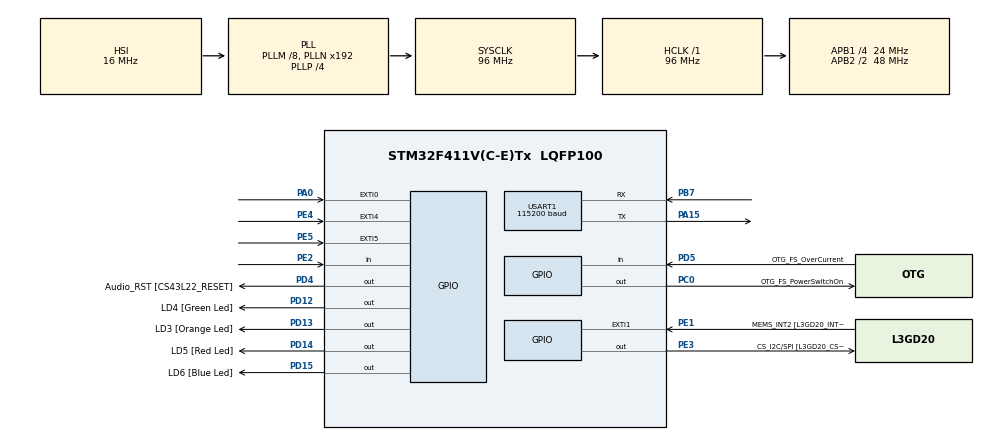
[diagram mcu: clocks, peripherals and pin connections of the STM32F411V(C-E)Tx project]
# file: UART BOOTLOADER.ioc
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Mcu.Family=STM32F4
Mcu.Name=STM32F411V(C-E)Tx
Mcu.Package=LQFP100
NVIC.PriorityGroup=NVIC_PRIORITYGROUP_0
PA0-WKUP.GPIO_ModeDefaultEXTI=GPIO_MODE_EVT_RISING
PA0-WKUP.Signal=GPXTI0
PA10.GPIO_Label=OTG_FS_ID
PA10.Signal=USB_OTG_FS_ID
PA11.GPIO_Label=OTG_FS_DM
PA11.Signal=USB_OTG_FS_DM
PA12.GPIO_Label=OTG_FS_DP
PA12.Signal=USB_OTG_FS_DP
PA13.GPIO_Label=SWDIO
PA13.Mode=Serial_Wire
PA13.Signal=SYS_JTMS-SWDIO
PA14.GPIO_Label=SWCLK
PA14.Mode=Serial_Wire
PA14.Signal=SYS_JTCK-SWCLK
PA15.Mode=Asynchronous
PA15.Signal=USART1_TX
PA4.GPIO_Label=I2S3_WS [CS43L22_LRCK]
PA4.GPIO_Mode=GPIO_MODE_AF_PP
PA4.GPIO_PuPd=GPIO_NOPULL
PA4.GPIO_Speed=GPIO_SPEED_FREQ_LOW
PA4.Signal=I2S3_WS
PA5.GPIO_Label=SPI1_SCK [L3GD20_SC/SPC]
PA5.Signal=SPI1_SCK
PA6.GPIO_Label=SPI1_MISO [L3GD20_AS0/SDO]
PA6.Signal=SPI1_MISO
PA7.GPIO_Label=SPI1_MOSI [L3GD20_SDA/SDI/SDO]
PA7.Signal=SPI1_MOSI
PA9.GPIO_Label=VBUS_FS
PA9.Signal=USB_OTG_FS_VBUS
PB10.GPIO_Label=CLK_IN [MP45DT02_CLK]
PB10.Signal=I2S2_CK
PB12.Signal=I2S2_WS
PB3.GPIO_Label=SWO
PB3.Signal=SYS_JTDO-SWO
PB6.GPIO_Label=Audio_SCL [CS43L22_SCL]
PB6.GPIO_Mode=GPIO_MODE_AF_OD
PB6.GPIO_PuPd=GPIO_NOPULL
PB6.GPIO_Speed=GPIO_SPEED_FREQ_LOW
PB6.Signal=I2C1_SCL
PB7.Mode=Asynchronous
PB7.Signal=USART1_RX
PB9.GPIO_Label=Audio_SDA [CS43L22_SDA]
PB9.GPIO_Mode=GPIO_MODE_AF_OD
PB9.GPIO_PuPd=GPIO_NOPULL
PB9.GPIO_Speed=GPIO_SPEED_FREQ_LOW
PB9.Signal=I2C1_SDA
PC0.GPIO_Label=OTG_FS_PowerSwitchOn
PC0.PinState=GPIO_PIN_SET
PC0.Signal=GPIO_Output
PC10.GPIO_Label=I2S3_SCK [CS43L22_SCLK]
PC10.GPIO_Mode=GPIO_MODE_AF_PP
PC10.GPIO_PuPd=GPIO_NOPULL
PC10.GPIO_Speed=GPIO_SPEED_FREQ_LOW
PC10.Signal=I2S3_CK
PC12.GPIO_Label=I2S3_SD [CS43L22_SDIN]
PC12.GPIO_Mode=GPIO_MODE_AF_PP
PC12.GPIO_PuPd=GPIO_NOPULL
PC12.GPIO_Speed=GPIO_SPEED_FREQ_LOW
PC12.Signal=I2S3_SD
PC14-OSC32_IN.GPIO_Label=PC14-OSC32_IN
PC14-OSC32_IN.Signal=RCC_OSC32_IN
PC15-OSC32_OUT.GPIO_Label=PC15-OSC32_OUT
PC15-OSC32_OUT.Signal=RCC_OSC32_OUT
PC3.GPIO_Label=PDM_OUT [MP45DT02_DOUT]
PC3.Signal=I2S2_SD
PC7.GPIO_Label=I2S3_MCK [CS43L22_MCLK]
PC7.GPIO_Mode=GPIO_MODE_AF_PP
PC7.GPIO_PuPd=GPIO_NOPULL
PC7.GPIO_Speed=GPIO_SPEED_FREQ_LOW
PC7.Signal=I2S3_MCK
PD12.GPIO_Label=LD4 [Green Led]
PD12.GPIO_PuPd=GPIO_NOPULL
PD12.GPIO_Speed=GPIO_SPEED_FREQ_LOW
PD12.Signal=GPIO_Output
PD13.GPIO_Label=LD3 [Orange Led]
PD13.GPIO_PuPd=GPIO_NOPULL
PD13.GPIO_Speed=GPIO_SPEED_FREQ_LOW
PD13.Signal=GPIO_Output
PD14.GPIO_Label=LD5 [Red Led]
PD14.GPIO_PuPd=GPIO_NOPULL
PD14.GPIO_Speed=GPIO_SPEED_FREQ_LOW
PD14.Signal=GPIO_Output
PD15.GPIO_Label=LD6 [Blue Led]
PD15.GPIO_PuPd=GPIO_NOPULL
PD15.GPIO_Speed=GPIO_SPEED_FREQ_LOW
PD15.Signal=GPIO_Output
PD4.GPIO_Label=Audio_RST [CS43L22_RESET]
PD4.Signal=GPIO_Output
PD5.GPIO_Label=OTG_FS_OverCurrent
PD5.Signal=GPIO_Input
PE1.GPIO_Label=MEMS_INT2 [L3GD20_INT2]
PE1.GPIO_ModeDefaultEXTI=GPIO_MODE_EVT_RISING
PE1.Signal=GPXTI1
PE2.Signal=GPIO_Input
PE3.GPIO_Label=CS_I2C/SPI [L3GD20_CS_I2C/SPI]
PE3.Signal=GPIO_Output
PE4.GPIO_ModeDefaultEXTI=GPIO_MODE_EVT_RISING
PE4.Signal=GPXTI4
PE5.GPIO_ModeDefaultEXTI=GPIO_MODE_EVT_RISING
PE5.Signal=GPXTI5
PH0\ -\ OSC_IN.GPIO_Label=PH0-OSC_IN
PH0\ -\ OSC_IN.Mode=HSE-External-Oscillator
PH0\ -\ OSC_IN.Signal=RCC_OSC_IN
PH1\ -\ OSC_OUT.GPIO_Label=PH1-OSC_OUT
PH1\ -\ OSC_OUT.Mode=HSE-External-Oscillator
PH1\ -\ OSC_OUT.Signal=RCC_OSC_OUT
ProjectManager.HeapSize=0x200
ProjectManager.StackSize=0x400
ProjectManager.TargetToolchain=STM32CubeIDE
RCC.48MHZClocksFreq_Value=48000000
RCC.AHBFreq_Value=96000000
RCC.APB1CLKDivider=RCC_HCLK_DIV4
RCC.APB1Freq_Value=24000000
RCC.APB1TimFreq_Value=48000000
RCC.APB2CLKDivider=RCC_HCLK_DIV2
RCC.APB2Freq_Value=48000000
RCC.APB2TimFreq_Value=96000000
RCC.CortexFreq_Value=96000000
RCC.HCLKFreq_Value=96000000
RCC.HSE_VALUE=8000000
RCC.HSI_VALUE=16000000
RCC.LSE_VALUE=32768
RCC.PLLI2SM=5
RCC.PLLI2SN=200
RCC.PLLM=8
RCC.PLLP=RCC_PLLP_DIV4
RCC.PLLQ=8
RCC.SYSCLKFreq_VALUE=96000000
RCC.SYSCLKSource=RCC_SYSCLKSOURCE_PLLCLK
RCC.VCOOutputFreq_Value=384000000
USART1.BaudRate=115200
USART1.VirtualMode=VM_ASYNC
board=STM32F411E-DISCO

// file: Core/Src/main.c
/* USER CODE BEGIN Header */
/**
  ******************************************************************************
  * @file           : main.c
  * @brief          : Main program body
  ******************************************************************************
  * @attention
  *
  * Copyright (c) 2023 STMicroelectronics.
  * All rights reserved.
  *
  * This software is licensed under terms that can be found in the LICENSE file
  * in the root directory of this software component.
  * If no LICENSE file comes with this software, it is provided AS-IS.
  *
  ******************************************************************************
  */
/* USER CODE END Header */
#include "main.h"

/* USER CODE BEGIN Includes */

#include <stdio.h>
#include <stdlib.h>
#include <stdint.h>
#include <string.h>

#include "stm32f4xx_hal.h"
#include "stm32f4xx_hal_flash.h"

/* USER CODE END Includes */

/* USER CODE BEGIN PM */

#define green_led								GPIO_PIN_12
#define orange_led								GPIO_PIN_13
#define red_led									GPIO_PIN_14
#define blue_led								GPIO_PIN_15

#define MAIN_APP_BASE_ADDR_FLASH				0x08004000

#define BOOTLOADER_WAITING_TICKS				1000
#define BOOTLOADER_RECEPTION_BYTES_PER_PACKET	1024
#define BOOTLOADER_RECEPTION_START_KEY			0x12345678

/*
 *
 * UART1 CONNECTIONS:
 * TX -> PA15
 * RX -> PB7
 *
 */

/* USER CODE END PM */

UART_HandleTypeDef  huart1;

/* USER CODE BEGIN PV */

#define HUART		&huart1			//Edit Your UART Here

/* USER CODE END PV */

void SystemClock_Config(void);
static void MX_GPIO_Init(void);
static void MX_USART1_UART_Init(void);

/* USER CODE BEGIN 0 */

typedef struct
{
	uint32_t start_key;
	uint32_t nBytes;
}BOOTLOADER_START_PACKET;

BOOTLOADER_START_PACKET bsp = {0, 0};

typedef void (*ptrFapp)();

void Bootloader_JumpToMainApp(uint32_t _app_addr)
{
	uint32_t jump_addr;

	ptrFapp jump_app;

	jump_addr = *(uint32_t*)(_app_addr + 4);
	jump_app  = (ptrFapp)jump_addr;

	__set_MSP(*(uint32_t*)_app_addr);

	jump_app();
}

void Bootloader_UpdateFirmware(void)
{
	uint8_t resp = 0x01;
	uint32_t counter = 0;
	uint8_t* bsp_ptr = (uint8_t*)&bsp;
	uint8_t current_packet_buffer[BOOTLOADER_RECEPTION_BYTES_PER_PACKET];

	while(1)
	{
		counter++;

		if(counter == BOOTLOADER_WAITING_TICKS)	return;

		else if(counter < BOOTLOADER_WAITING_TICKS && (USART1 -> SR & (1 << USART_SR_RXNE_Pos)))
		{
			*bsp_ptr = USART1 -> DR;																	//Read The First Byte

			break;
		}
		HAL_Delay(1);
	}
	for(uint8_t i=1; i<sizeof(bsp); i++) HAL_UART_Receive(HUART, (bsp_ptr + i), 1, HAL_MAX_DELAY);		//Read Start Packet

	counter = 0;

	if(bsp.start_key == BOOTLOADER_RECEPTION_START_KEY)
	{
		FLASH_EraseInitTypeDef EraseInitStruct;
		uint32_t SectorError;
		uint32_t current_addr_offset = 0;

		HAL_FLASH_Unlock();

		EraseInitStruct.TypeErase     = FLASH_TYPEERASE_SECTORS;
		EraseInitStruct.Sector        = FLASH_SECTOR_1;
		EraseInitStruct.NbSectors     = 7;
		EraseInitStruct.VoltageRange  = FLASH_VOLTAGE_RANGE_3;

		HAL_StatusTypeDef status = HAL_FLASHEx_Erase( &EraseInitStruct, &SectorError );

		HAL_FLASH_Lock();

		if(status != HAL_OK) return;

		float total_packets = (float)bsp.nBytes / (float)BOOTLOADER_RECEPTION_BYTES_PER_PACKET;
		if((total_packets - (int)total_packets) > 0) total_packets++;

		int packets_received = 0;

		uint32_t nBytes = 0;
		uint8_t* nBytes_ptr = (uint8_t*)&nBytes;

		while(packets_received != (int)total_packets)
		{
			HAL_UART_Transmit(HUART, (uint8_t*)&resp, 1, 2000);

			for(int i=0; i<4; i++) HAL_UART_Receive(HUART, (nBytes_ptr + i), 1, 2000);	//Receive Packet Number of Bytes

			for(int i=0; i<nBytes; i++)														//Receive Packet Data
			{
				HAL_UART_Receive(HUART, &current_packet_buffer[i], 1, 2000);

				counter++;

				if((counter % 5) == 0)
				{
					HAL_GPIO_WritePin(GPIOD, orange_led, GPIO_PIN_SET);
					HAL_Delay(5);
					HAL_GPIO_WritePin(GPIOD, orange_led, GPIO_PIN_RESET);
				}
			}
			packets_received++;

			uint32_t address_base = (MAIN_APP_BASE_ADDR_FLASH + current_addr_offset);

			HAL_FLASH_Unlock();

			for(int i=0; i<nBytes; i++)						//Write Packet Data To FLASH
			{
				HAL_FLASH_Program(FLASH_TYPEPROGRAM_BYTE, (address_base + i), current_packet_buffer[i]);
			}
			HAL_FLASH_Lock();

			current_addr_offset += nBytes;
			nBytes = 0;
		}
	}
}

/* USER CODE END 0 */

int main(void)
{

  /* MCU Configuration--------------------------------------------------------*/

  /* Reset of all peripherals, Initializes the Flash interface and the Systick. */
  HAL_Init();

  /* Configure the system clock */
  SystemClock_Config();

  /* Initialize all configured peripherals */
  MX_GPIO_Init();
  MX_USART1_UART_Init();
  /* USER CODE BEGIN 2 */

	Bootloader_UpdateFirmware();

	Bootloader_JumpToMainApp(MAIN_APP_BASE_ADDR_FLASH);

  /* USER CODE END 2 */

  /* Infinite loop */
	while (1)
	{

    /* USER CODE BEGIN 3 */
	}
	return 0;
  /* USER CODE END 3 */
}

void SystemClock_Config(void)
{
  RCC_OscInitTypeDef RCC_OscInitStruct = {0};
  RCC_ClkInitTypeDef RCC_ClkInitStruct = {0};

  /** Configure the main internal regulator output voltage
  */
  __HAL_RCC_PWR_CLK_ENABLE();
  __HAL_PWR_VOLTAGESCALING_CONFIG(PWR_REGULATOR_VOLTAGE_SCALE1);

  /** Initializes the RCC Oscillators according to the specified parameters
  * in the RCC_OscInitTypeDef structure.
  */
  RCC_OscInitStruct.OscillatorType = RCC_OSCILLATORTYPE_HSI;
  RCC_OscInitStruct.HSIState = RCC_HSI_ON;
  RCC_OscInitStruct.HSICalibrationValue = RCC_HSICALIBRATION_DEFAULT;
  RCC_OscInitStruct.PLL.PLLState = RCC_PLL_ON;
  RCC_OscInitStruct.PLL.PLLSource = RCC_PLLSOURCE_HSI;
  RCC_OscInitStruct.PLL.PLLM = 8;
  RCC_OscInitStruct.PLL.PLLN = 192;
  RCC_OscInitStruct.PLL.PLLP = RCC_PLLP_DIV4;
  RCC_OscInitStruct.PLL.PLLQ = 8;
  if (HAL_RCC_OscConfig(&RCC_OscInitStruct) != HAL_OK)
  {
    Error_Handler();
  }

  /** Initializes the CPU, AHB and APB buses clocks
  */
  RCC_ClkInitStruct.ClockType = RCC_CLOCKTYPE_HCLK|RCC_CLOCKTYPE_SYSCLK
                              |RCC_CLOCKTYPE_PCLK1|RCC_CLOCKTYPE_PCLK2;
  RCC_ClkInitStruct.SYSCLKSource = RCC_SYSCLKSOURCE_PLLCLK;
  RCC_ClkInitStruct.AHBCLKDivider = RCC_SYSCLK_DIV1;
  RCC_ClkInitStruct.APB1CLKDivider = RCC_HCLK_DIV4;
  RCC_ClkInitStruct.APB2CLKDivider = RCC_HCLK_DIV2;

  if (HAL_RCC_ClockConfig(&RCC_ClkInitStruct, FLASH_LATENCY_3) != HAL_OK)
  {
    Error_Handler();
  }
}

static void MX_USART1_UART_Init(void)
{

  huart1.Instance = USART1;
  huart1.Init.BaudRate = 115200;
  huart1.Init.WordLength = UART_WORDLENGTH_8B;
  huart1.Init.StopBits = UART_STOPBITS_1;
  huart1.Init.Parity = UART_PARITY_NONE;
  huart1.Init.Mode = UART_MODE_TX_RX;
  huart1.Init.HwFlowCtl = UART_HWCONTROL_NONE;
  huart1.Init.OverSampling = UART_OVERSAMPLING_16;
  if (HAL_UART_Init(HUART) != HAL_OK)
  {
    Error_Handler();
  }

}

static void MX_GPIO_Init(void)
{
  GPIO_InitTypeDef GPIO_InitStruct = {0};

  /* GPIO Ports Clock Enable */
  __HAL_RCC_GPIOE_CLK_ENABLE();
  __HAL_RCC_GPIOC_CLK_ENABLE();
  __HAL_RCC_GPIOH_CLK_ENABLE();
  __HAL_RCC_GPIOA_CLK_ENABLE();
  __HAL_RCC_GPIOB_CLK_ENABLE();
  __HAL_RCC_GPIOD_CLK_ENABLE();

  /*Configure GPIO pin Output Level */
  HAL_GPIO_WritePin(CS_I2C_SPI_GPIO_Port, CS_I2C_SPI_Pin, GPIO_PIN_RESET);

  /*Configure GPIO pin Output Level */
  HAL_GPIO_WritePin(OTG_FS_PowerSwitchOn_GPIO_Port, OTG_FS_PowerSwitchOn_Pin, GPIO_PIN_SET);

  /*Configure GPIO pin Output Level */
  HAL_GPIO_WritePin(GPIOD, LD4_Pin|LD3_Pin|LD5_Pin|LD6_Pin
                          |Audio_RST_Pin, GPIO_PIN_RESET);

  /*Configure GPIO pin : PE2 */
  GPIO_InitStruct.Pin = GPIO_PIN_2;
  GPIO_InitStruct.Mode = GPIO_MODE_INPUT;
  GPIO_InitStruct.Pull = GPIO_NOPULL;
  HAL_GPIO_Init(GPIOE, &GPIO_InitStruct);

  /*Configure GPIO pin : CS_I2C_SPI_Pin */
  GPIO_InitStruct.Pin = CS_I2C_SPI_Pin;
  GPIO_InitStruct.Mode = GPIO_MODE_OUTPUT_PP;
  GPIO_InitStruct.Pull = GPIO_NOPULL;
  GPIO_InitStruct.Speed = GPIO_SPEED_FREQ_LOW;
  HAL_GPIO_Init(CS_I2C_SPI_GPIO_Port, &GPIO_InitStruct);

  /*Configure GPIO pins : PE4 PE5 MEMS_INT2_Pin */
  GPIO_InitStruct.Pin = GPIO_PIN_4|GPIO_PIN_5|MEMS_INT2_Pin;
  GPIO_InitStruct.Mode = GPIO_MODE_EVT_RISING;
  GPIO_InitStruct.Pull = GPIO_NOPULL;
  HAL_GPIO_Init(GPIOE, &GPIO_InitStruct);

  /*Configure GPIO pin : OTG_FS_PowerSwitchOn_Pin */
  GPIO_InitStruct.Pin = OTG_FS_PowerSwitchOn_Pin;
  GPIO_InitStruct.Mode = GPIO_MODE_OUTPUT_PP;
  GPIO_InitStruct.Pull = GPIO_NOPULL;
  GPIO_InitStruct.Speed = GPIO_SPEED_FREQ_LOW;
  HAL_GPIO_Init(OTG_FS_PowerSwitchOn_GPIO_Port, &GPIO_InitStruct);

  /*Configure GPIO pin : PDM_OUT_Pin */
  GPIO_InitStruct.Pin = PDM_OUT_Pin;
  GPIO_InitStruct.Mode = GPIO_MODE_AF_PP;
  GPIO_InitStruct.Pull = GPIO_NOPULL;
  GPIO_InitStruct.Speed = GPIO_SPEED_FREQ_LOW;
  GPIO_InitStruct.Alternate = GPIO_AF5_SPI2;
  HAL_GPIO_Init(PDM_OUT_GPIO_Port, &GPIO_InitStruct);

  /*Configure GPIO pin : PA0 */
  GPIO_InitStruct.Pin = GPIO_PIN_0;
  GPIO_InitStruct.Mode = GPIO_MODE_EVT_RISING;
  GPIO_InitStruct.Pull = GPIO_NOPULL;
  HAL_GPIO_Init(GPIOA, &GPIO_InitStruct);

  /*Configure GPIO pin : I2S3_WS_Pin */
  GPIO_InitStruct.Pin = I2S3_WS_Pin;
  GPIO_InitStruct.Mode = GPIO_MODE_AF_PP;
  GPIO_InitStruct.Pull = GPIO_NOPULL;
  GPIO_InitStruct.Speed = GPIO_SPEED_FREQ_LOW;
  GPIO_InitStruct.Alternate = GPIO_AF6_SPI3;
  HAL_GPIO_Init(I2S3_WS_GPIO_Port, &GPIO_InitStruct);

  /*Configure GPIO pins : SPI1_SCK_Pin SPI1_MISO_Pin SPI1_MOSI_Pin */
  GPIO_InitStruct.Pin = SPI1_SCK_Pin|SPI1_MISO_Pin|SPI1_MOSI_Pin;
  GPIO_InitStruct.Mode = GPIO_MODE_AF_PP;
  GPIO_InitStruct.Pull = GPIO_NOPULL;
  GPIO_InitStruct.Speed = GPIO_SPEED_FREQ_VERY_HIGH;
  GPIO_InitStruct.Alternate = GPIO_AF5_SPI1;
  HAL_GPIO_Init(GPIOA, &GPIO_InitStruct);

  /*Configure GPIO pins : CLK_IN_Pin PB12 */
  GPIO_InitStruct.Pin = CLK_IN_Pin|GPIO_PIN_12;
  GPIO_InitStruct.Mode = GPIO_MODE_AF_PP;
  GPIO_InitStruct.Pull = GPIO_NOPULL;
  GPIO_InitStruct.Speed = GPIO_SPEED_FREQ_LOW;
  GPIO_InitStruct.Alternate = GPIO_AF5_SPI2;
  HAL_GPIO_Init(GPIOB, &GPIO_InitStruct);

  /*Configure GPIO pins : LD4_Pin LD3_Pin LD5_Pin LD6_Pin
                           Audio_RST_Pin */
  GPIO_InitStruct.Pin = LD4_Pin|LD3_Pin|LD5_Pin|LD6_Pin
                          |Audio_RST_Pin;
  GPIO_InitStruct.Mode = GPIO_MODE_OUTPUT_PP;
  GPIO_InitStruct.Pull = GPIO_NOPULL;
  GPIO_InitStruct.Speed = GPIO_SPEED_FREQ_LOW;
  HAL_GPIO_Init(GPIOD, &GPIO_InitStruct);

  /*Configure GPIO pins : I2S3_MCK_Pin I2S3_SCK_Pin I2S3_SD_Pin */
  GPIO_InitStruct.Pin = I2S3_MCK_Pin|I2S3_SCK_Pin|I2S3_SD_Pin;
  GPIO_InitStruct.Mode = GPIO_MODE_AF_PP;
  GPIO_InitStruct.Pull = GPIO_NOPULL;
  GPIO_InitStruct.Speed = GPIO_SPEED_FREQ_LOW;
  GPIO_InitStruct.Alternate = GPIO_AF6_SPI3;
  HAL_GPIO_Init(GPIOC, &GPIO_InitStruct);

  /*Configure GPIO pin : VBUS_FS_Pin */
  GPIO_InitStruct.Pin = VBUS_FS_Pin;
  GPIO_InitStruct.Mode = GPIO_MODE_INPUT;
  GPIO_InitStruct.Pull = GPIO_NOPULL;
  HAL_GPIO_Init(VBUS_FS_GPIO_Port, &GPIO_InitStruct);

  /*Configure GPIO pins : OTG_FS_ID_Pin OTG_FS_DM_Pin OTG_FS_DP_Pin */
  GPIO_InitStruct.Pin = OTG_FS_ID_Pin|OTG_FS_DM_Pin|OTG_FS_DP_Pin;
  GPIO_InitStruct.Mode = GPIO_MODE_AF_PP;
  GPIO_InitStruct.Pull = GPIO_NOPULL;
  GPIO_InitStruct.Speed = GPIO_SPEED_FREQ_VERY_HIGH;
  GPIO_InitStruct.Alternate = GPIO_AF10_OTG_FS;
  HAL_GPIO_Init(GPIOA, &GPIO_InitStruct);

  /*Configure GPIO pin : OTG_FS_OverCurrent_Pin */
  GPIO_InitStruct.Pin = OTG_FS_OverCurrent_Pin;
  GPIO_InitStruct.Mode = GPIO_MODE_INPUT;
  GPIO_InitStruct.Pull = GPIO_NOPULL;
  HAL_GPIO_Init(OTG_FS_OverCurrent_GPIO_Port, &GPIO_InitStruct);

  /*Configure GPIO pins : Audio_SCL_Pin Audio_SDA_Pin */
  GPIO_InitStruct.Pin = Audio_SCL_Pin|Audio_SDA_Pin;
  GPIO_InitStruct.Mode = GPIO_MODE_AF_OD;
  GPIO_InitStruct.Pull = GPIO_NOPULL;
  GPIO_InitStruct.Speed = GPIO_SPEED_FREQ_LOW;
  GPIO_InitStruct.Alternate = GPIO_AF4_I2C1;
  HAL_GPIO_Init(GPIOB, &GPIO_InitStruct);

}

void Error_Handler(void)
{
  __disable_irq();
  while (1)
  {
  }
}
